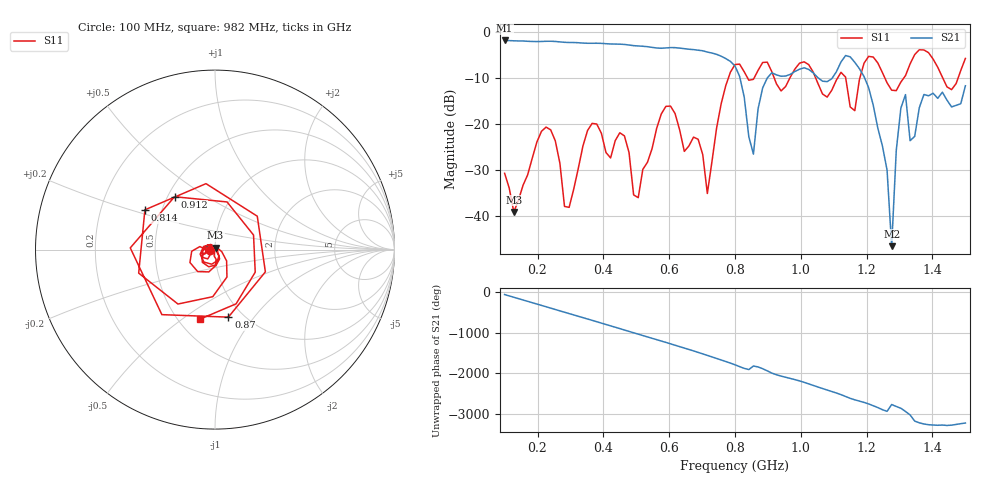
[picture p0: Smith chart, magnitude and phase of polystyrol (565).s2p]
! NanoVNA-App
! Date: 2025-09-25 15:34:17
! Start: 100MHz Stop: 1,5GHz Points: 101
! S-Parameter data: F S11 S21 S12 S22
# Hz S RI R 50
!  Frequency  S11_Real  S11_Imag  S21_Real  S21_Imag  S12_Real  S12_Imag  S22_Real  S22_Imag
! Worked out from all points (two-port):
!   101 points, 100 MHz to 1.5 GHz, reference 50 ohm
!   highest |S21| = -1.80 dB at 100 MHz (marker M1); lowest = -46.6 dB at 1.276 GHz (marker M2)
!   |S21| within 3 dB of the highest: start of sweep to 743 MHz
!   lowest |S11| = -39.1 dB at 128 MHz (marker M3), VSWR 1.02, Z = 50.3 + j1.06 ohm
!   |S11| at or under -10 dB: start of sweep to 779.8 MHz; 1.045 GHz to 1.112 GHz (66.23 MHz wide, 6.14 % of centre); 1.256 GHz to 1.313 GHz (56.92 MHz wide, 4.43 % of centre) (the widest 3 of 7)
!   S12 and S22 are empty: the file has one direction only
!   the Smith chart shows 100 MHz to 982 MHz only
!   S11 on the Smith chart (normalised r, x): 100 MHz: 0.94, -0.01; 814 MHz: 0.40, +0.22; 870 MHz: 0.85, -0.75; 912 MHz: 0.54, +0.37; 982 MHz: 0.63, -0.58
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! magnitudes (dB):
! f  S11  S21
! 100 MHz  -30.7  -1.8
! 128 MHz  -39.1  -1.9
! 212 MHz  -21.6  -2.0
! 282 MHz  -37.9  -2.2
! 338 MHz  -24.8  -2.4
! 464 MHz  -22.6  -2.7
! 506 MHz  -36.0  -3.0
! 576 MHz  -17.8  -3.5
! 716 MHz  -35.1  -4.3
! 800 MHz  -7.0  -7.4
! 814 MHz  -7.0  -9.6
! 856 MHz  -10.3  -26.5
! 870 MHz  -8.3  -16.7
! 912 MHz  -8.6  -8.8
! 982 MHz  -8.0  -8.6
! 1.038 GHz  -8.7  -8.9
! 1.192 GHz  -6.7  -9.6
! 1.262 GHz  -11.0  -30.0
! 1.276 GHz  -12.6  -46.6
! 1.318 GHz  -9.5  -13.6
! 1.332 GHz  -6.9  -23.6
! 1.5 GHz  -5.7  -11.7
